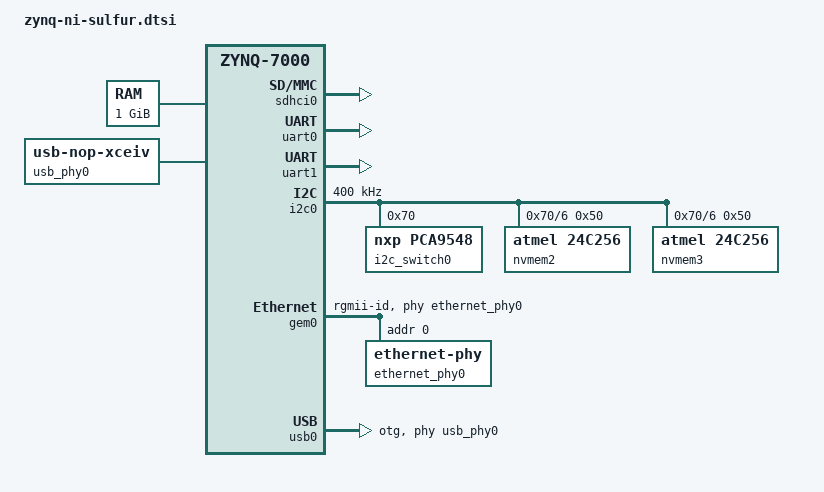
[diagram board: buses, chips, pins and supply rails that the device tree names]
/*
 * Copyright (c) 2016,2017 National Instruments Corp.
 *
 * SPDX-License-Identifier: (GPL-2.0 OR X11)
 */

/dts-v1/;

#include <dt-bindings/gpio/gpio.h>
#include "zynq-7000.dtsi"

/ {
	aliases {
		ethernet0 = &gem0;
		serial0 = &uart0;
		serial1 = &uart1;
		spi0 = &spi0;
		spi1 = &spi1;
		gpio0 = &gpio0;
		i2c0 = &i2c0;
		i2c1 = &i2c1;
		i2c20 = &tun;
		i2c706 = &usrpio_i2c0;
		i2c707 = &usrpio_i2c1;
	};

	memory {
		device_type = "memory";
		reg = <0x0 0x40000000>;
	};

	chosen {
		stdout-path = "serial0:115200n8";
	};

	usb_phy0: phy0 {
		compatible = "usb-nop-xceiv";
		#phy-cells = <0>;
	};
};

&cpu0 {
	operating-points = <800000 1000000>;
};

&clkc {
	ps-clk-frequency = <33333333>;
};

&sdhci0 {
	status = "okay";
};

&uart0 {
	status = "okay";
};

&uart1 {
	status = "okay";
};

/* we use the ARM global timer */
&ttc0 {
	status = "disabled";
};

/* we use the ARM global timer */
&ttc1 {
	status = "disabled";
};

&i2c0 {
	status = "okay";
	clock-frequency = <400000>;

	i2c_switch0: i2cswitch@70 {
		compatible = "nxp,pca9548";
		#address-cells = <1>;
		#size-cells = <0>;
		reg = <0x70>;

		usrpio_i2c0: i2c@6 {
			#address-cells = <1>;
			#size-cells = <0>;
			reg = <6>;

			nvmem2: eeprom@50 {
				compatible = "atmel,24c256";
				reg = <0x50>;
			};

		};

		usrpio_i2c1: i2c@7 {
			#address-cells = <1>;
			#size-cells = <0>;
			reg = <6>;

			nvmem3: eeprom@50 {
				compatible = "atmel,24c256";
				reg = <0x50>;
			};
		};

	};
};

&gpio0 {
	status = "okay";
};

&gem0 {
	phy-mode = "rgmii-id";
	phy-handle = <&ethernet_phy0>;
	status = "okay";

	ethernet_phy0: ethernet-phy@0 {
		reg = <0>;
	};
};

&usb0 {
	usb-phy = <&usb_phy0>;
	dr_mode = "otg";
	status = "okay";
};

&amba {
	ocm: sram@fffc0000 {
		compatible = "mmio-sram";
		reg = <0xfffc0000 0x10000>;
	};
};
